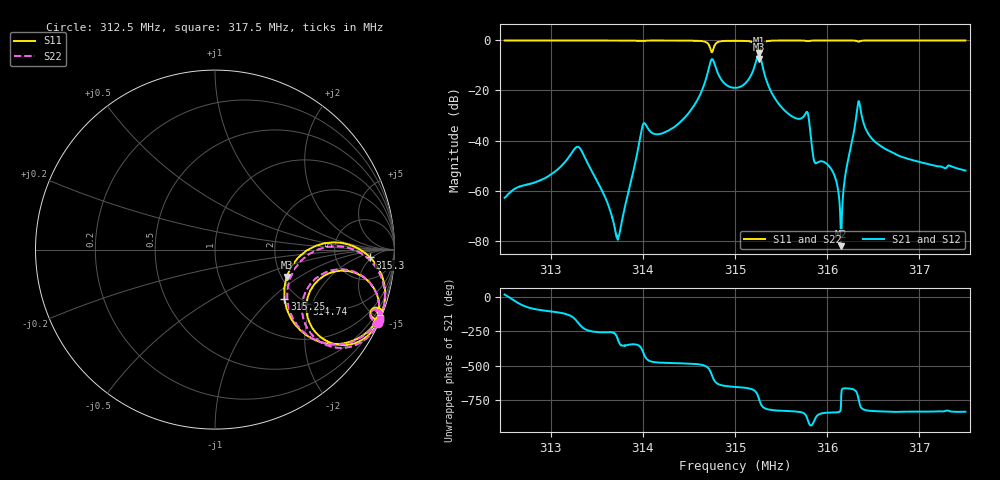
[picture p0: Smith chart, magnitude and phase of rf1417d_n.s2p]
!HP8753
# HZ S RI R 50
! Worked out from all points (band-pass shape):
!   1601 points, 312.5 MHz to 317.5 MHz, reference 50 ohm
!   highest |S21| = -5.13 dB at 315.26 MHz (marker M1); lowest = -82.2 dB at 316.15 MHz (marker M2)
!   |S21| within 3 dB of the highest: 314.7385 MHz to 314.7654 MHz (26.85 kHz wide, 0.00853 % of centre); 315.2297 MHz to 315.2857 MHz (56.08 kHz wide, 0.0178 % of centre)
!   lowest |S11| = -7.4 dB at 315.26 MHz (marker M3), VSWR 2.49, Z = 106 - j39.6 ohm
!   |S11| at or under -10 dB: nowhere
!   |S22| runs from -7.0 to 0.0 dB; largest |S21 - S12| = 0.0033
!   S11 on the Smith chart (normalised r, x): 312.5 MHz: 0.08, -4.80; 314.74 MHz: 1.95, -1.82; 315.25 MHz: 1.72, -1.22; 315.3 MHz: 12, -4; 317.5 MHz: 0.08, -5.05
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3.125e8  0.9108 -0.3969  0.000697 0.000182  0.000681 0.000194  0.9086 -0.4069
3.133344e8  0.9035 -0.3982  -0.00501 0.00375  -0.00506 0.00368  0.9016 -0.4081
3.137281e8  0.9044 -0.4084  5.79e-05 8.64e-05  7.13e-05 8.6e-05  0.902 -0.4192
3.14e8  0.8846 -0.4053  0.0164 -0.0123  0.0165 -0.0122  0.8799 -0.4154
3.141687e8  0.8999 -0.4169  -0.006 -0.0119  -0.00586 -0.012  0.8976 -0.4271
3.145219e8  0.8746 -0.4556  -0.023 -0.0334  -0.0225 -0.0336  0.8707 -0.4677
3.147437e8  0.5093 -0.3035  -0.3925 0.1243  -0.3933 0.1221  0.4854 -0.3045
3.148188e8  0.8979 -0.2405  0.00852 0.2107  0.00639 0.2102  0.8974 -0.2395
3.15e8  0.9005 -0.3885  0.0435 0.104  0.0423 0.1043  0.9004 -0.394
3.152125e8  0.6934 -0.5256  0.2325 0.1957  0.2311 0.1985  0.6989 -0.5285
3.152531e8  0.3869 -0.2742  0.5385 -0.045  0.5395 -0.0433  0.403 -0.2831
3.152594e8  0.3987 -0.1524  0.5289 -0.1646  0.5294 -0.1633  0.4159 -0.1651
3.153e8  0.8641 -0.0438  0.0747 -0.2877  0.0769 -0.2859  0.8666 -0.063
3.155156e8  0.9398 -0.3159  -0.0115 -0.0423  -0.0111 -0.0424  0.938 -0.3272
3.157812e8  0.9025 -0.3491  -0.034 -0.0153  -0.0338 -0.0156  0.899 -0.3596
3.158344e8  0.9277 -0.3376  -0.00673 0.00348  -0.00676 0.00339  0.9255 -0.3469
3.160687e8  0.926 -0.3615  -0.00102 -0.00199  -0.000982 -0.002  0.9243 -0.3715
3.1615e8  0.924 -0.3661  2.96e-05 -7.18e-05  3.44e-05 -7.65e-05  0.9224 -0.3757
3.163406e8  0.8672 -0.3442  0.0564 -0.0227  0.0566 -0.0222  0.8658 -0.3546
3.164594e8  0.9258 -0.3599  -0.00322 -0.0121  -0.00307 -0.0121  0.9238 -0.37
3.166687e8  0.9233 -0.3688  -0.00225 -0.00585  -0.00218 -0.00586  0.9216 -0.3787
3.175e8  0.9194 -0.3785  -0.000933 -0.00233  -0.000898 -0.00234  0.9175 -0.3888
